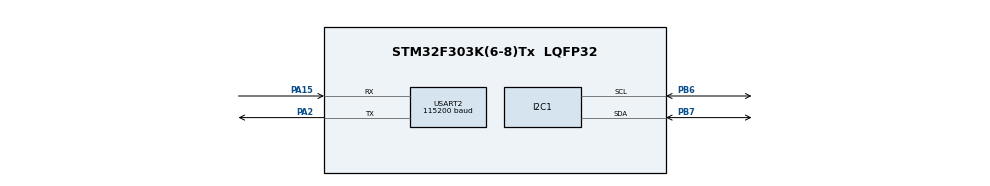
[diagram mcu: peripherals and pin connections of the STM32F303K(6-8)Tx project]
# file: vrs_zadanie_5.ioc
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I2C1.Timing=0x00201D2B
Mcu.Family=STM32F3
Mcu.Name=STM32F303K(6-8)Tx
Mcu.Package=LQFP32
NVIC.I2C1_EV_IRQn=true\:0\:0\:false\:false\:true\:true\:true\:true
NVIC.PriorityGroup=NVIC_PRIORITYGROUP_4
PA13.Mode=Serial_Wire
PA13.Signal=SYS_JTMS-SWDIO
PA14.Mode=Serial_Wire
PA14.Signal=SYS_JTCK-SWCLK
PA15.Mode=Asynchronous
PA15.Signal=USART2_RX
PA2.Mode=Asynchronous
PA2.Signal=USART2_TX
PB6.Mode=I2C
PB6.Signal=I2C1_SCL
PB7.Mode=I2C
PB7.Signal=I2C1_SDA
ProjectManager.HeapSize=0x200
ProjectManager.StackSize=0x400
ProjectManager.TargetToolchain=STM32CubeIDE
RCC.AHBFreq_Value=8000000
RCC.APB1Freq_Value=8000000
RCC.APB2Freq_Value=8000000
RCC.CortexFreq_Value=8000000
RCC.HSE_VALUE=8000000
RCC.HSI_VALUE=8000000
RCC.SYSCLKFreq_VALUE=8000000
USART2.BaudRate=115200
USART2.VirtualMode-Asynchronous=VM_ASYNC
board=custom

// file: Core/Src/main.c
/* USER CODE BEGIN Header */
/**
  ******************************************************************************
  * @file           : main.c
  * @brief          : Main program body
  ******************************************************************************
  * @attention
  *
  * Copyright (c) 2026 STMicroelectronics.
  * All rights reserved.
  *
  * This software is licensed under terms that can be found in the LICENSE file
  * in the root directory of this software component.
  * If no LICENSE file comes with this software, it is provided AS-IS.
  *
  ******************************************************************************
  */
/* USER CODE END Header */
#include "main.h"
#include "i2c.h"
#include "usart.h"
#include "gpio.h"

/* USER CODE BEGIN Includes */
#include "hts221.h"
#include "lps25hb.h"
#include "bmp180.h"
#include "aht10.h"
#include <stdio.h>
/* USER CODE END Includes */

/* USER CODE BEGIN PD */
/*
 * Used sensors:
 * SENSORS_IKS01A1      - X-NUCLEO-IKS01A1 board: HTS221 (temperature, humidity) + LPS25HB (pressure)
 * SENSORS_BMP180_AHT10 - modules BMP180 (pressure) + AHT10 (temperature, humidity)
 */
#define SENSORS_IKS01A1				1
#define SENSORS_BMP180_AHT10		2
#define SENSORS_USED				SENSORS_BMP180_AHT10

#define MEASUREMENT_PERIOD_MS		100U	//CSV data period (+ time of measurement)
#define AHT10_MEASURE_EVERY			10U		//AHT10 measured every 10th period (~1 s, limits self-heating)
#define REFERENCE_SAMPLES			20U		//number of pressure samples averaged for reference (ground) pressure
#define INIT_RETRY_PERIOD_MS		1000U
/* USER CODE END PD */

/* USER CODE BEGIN PV */
/* reference (ground) pressure for relative altitude [hPa] */
static float reference_pressure = 0.0f;
/* USER CODE END PV */

void SystemClock_Config(void);
/* USER CODE BEGIN PFP */
static void Sensors_Init(void);
static void I2C_Scan(void);
static uint8_t Read_Pressure(float *pressure);
static float Measure_ReferencePressure(void);
static void Delay_ms(uint32_t ms);
static void Format_Value(char *buffer, float value, uint8_t int_digits, uint8_t decimals);
/* USER CODE END PFP */

int main(void)
{

  /* MCU Configuration--------------------------------------------------------*/

  /* Reset of all peripherals, Initializes the Flash interface and the Systick. */
  LL_APB2_GRP1_EnableClock(LL_APB2_GRP1_PERIPH_SYSCFG);
  LL_APB1_GRP1_EnableClock(LL_APB1_GRP1_PERIPH_PWR);

  /* System interrupt init*/
  NVIC_SetPriorityGrouping(NVIC_PRIORITYGROUP_4);

  /* SysTick_IRQn interrupt configuration */
  NVIC_SetPriority(SysTick_IRQn, NVIC_EncodePriority(NVIC_GetPriorityGrouping(),15, 0));

  /* Configure the system clock */
  SystemClock_Config();

  /* Initialize all configured peripherals */
  MX_GPIO_Init();
  MX_I2C1_Init();
  MX_USART2_UART_Init();
  /* USER CODE BEGIN 2 */
  /* I2C functions are registered as callbacks - sensor drivers do not use i2c.c directly */
#if SENSORS_USED == SENSORS_IKS01A1
  HTS221_RegisterCallbacks(i2c_read, i2c_write);
  LPS25HB_RegisterCallbacks(i2c_read, i2c_write);
#else
  BMP180_RegisterCallbacks(i2c_read, i2c_write, Delay_ms);
  AHT10_RegisterCallbacks(i2c_write_raw, i2c_read_raw, Delay_ms);
#endif

  I2C_Scan();		//diagnostics - list of devices on I2C bus

  Sensors_Init();

  /* reference pressure = actual position is altitude 0 m */
  reference_pressure = Measure_ReferencePressure();

  float temperature = 0.0f, humidity = 0.0f, pressure = 0.0f, altitude = 0.0f;
  char temperature_str[12], humidity_str[12], pressure_str[12], altitude_str[12];
  char message[64];
#if SENSORS_USED == SENSORS_BMP180_AHT10
  uint8_t aht10_counter = 0;
#endif
  /* USER CODE END 2 */

  /* Infinite loop */
  while (1)
  {

    /* USER CODE BEGIN 3 */
	  /* read measured values (previous value is kept if reading fails) */
#if SENSORS_USED == SENSORS_IKS01A1
	  HTS221_ReadTemperature(&temperature);
	  HTS221_ReadHumidity(&humidity);
#else
	  if(aht10_counter == 0U)
	  {
		  AHT10_Measure();		//one measurement gives humidity and temperature
	  }
	  aht10_counter = (aht10_counter + 1U) % AHT10_MEASURE_EVERY;

	  AHT10_ReadTemperature(&temperature);
	  AHT10_ReadHumidity(&humidity);
#endif
	  Read_Pressure(&pressure);

	  /* post processing - relative altitude from pressure */
#if SENSORS_USED == SENSORS_IKS01A1
	  altitude = LPS25HB_CalculateRelativeAltitude(pressure, reference_pressure);
#else
	  altitude = BMP180_CalculateRelativeAltitude(pressure, reference_pressure);
#endif

	  /* CSV: temperature [degC] xx.x, humidity [%] xx, pressure [hPa] xxxx.xx, altitude [m] xx.xx */
	  Format_Value(temperature_str, temperature, 2, 1);
	  Format_Value(humidity_str, humidity, 2, 0);
	  Format_Value(pressure_str, pressure, 4, 2);
	  Format_Value(altitude_str, altitude, 2, 2);

	  sprintf(message, "%s,%s,%s,%s\r\n", temperature_str, humidity_str, pressure_str, altitude_str);
	  USART2_SendString(message);

	  LL_mDelay(MEASUREMENT_PERIOD_MS);
  }
  /* USER CODE END 3 */
}

void SystemClock_Config(void)
{
  LL_FLASH_SetLatency(LL_FLASH_LATENCY_0);
  while(LL_FLASH_GetLatency()!= LL_FLASH_LATENCY_0)
  {
  }
  LL_RCC_HSI_Enable();

   /* Wait till HSI is ready */
  while(LL_RCC_HSI_IsReady() != 1)
  {

  }
  LL_RCC_HSI_SetCalibTrimming(16);
  LL_RCC_SetAHBPrescaler(LL_RCC_SYSCLK_DIV_1);
  LL_RCC_SetAPB1Prescaler(LL_RCC_APB1_DIV_1);
  LL_RCC_SetAPB2Prescaler(LL_RCC_APB2_DIV_1);
  LL_RCC_SetSysClkSource(LL_RCC_SYS_CLKSOURCE_HSI);

   /* Wait till System clock is ready */
  while(LL_RCC_GetSysClkSource() != LL_RCC_SYS_CLKSOURCE_STATUS_HSI)
  {

  }
  LL_Init1msTick(8000000);
  LL_SetSystemCoreClock(8000000);
  LL_RCC_SetI2CClockSource(LL_RCC_I2C1_CLKSOURCE_HSI);
}

/* USER CODE BEGIN 4 */
/* Diagnostics - finds all devices answering on I2C bus and prints their 7-bit addresses */
static void I2C_Scan(void)
{
	char text[32];
	uint8_t dummy;
	uint8_t found = 0;

	LL_mDelay(50);		//sensors power on
	USART2_SendString("I2C scan:");
	for(uint8_t address = 0x08U; address < 0x78U; address++)
	{
		if(i2c_read_raw((uint8_t)(address << 1), &dummy, 1U) == I2C_OK)
		{
			sprintf(text, " 0x%02X", address);
			USART2_SendString(text);
			found++;
		}
	}
	USART2_SendString(found ? "\r\n" : " no device\r\n");
}
/* Delay function registered as callback for sensor drivers */
static void Delay_ms(uint32_t ms)
{
	LL_mDelay(ms);
}

/* Initialization of both sensors, repeated until successful (error is reported via USART) */
static void Sensors_Init(void)
{
	uint8_t humidity_ok = 0, pressure_ok = 0;

	while(!humidity_ok || !pressure_ok)
	{
#if SENSORS_USED == SENSORS_IKS01A1
		if(!humidity_ok)
		{
			humidity_ok = (HTS221_Init() == HTS221_OK);
			if(!humidity_ok) USART2_SendString("HTS221 init error\r\n");
		}
		if(!pressure_ok)
		{
			pressure_ok = (LPS25HB_Init() == LPS25HB_OK);
			if(!pressure_ok) USART2_SendString("LPS25HB init error\r\n");
		}
#else
		if(!humidity_ok)
		{
			humidity_ok = (AHT10_Init() == AHT10_OK);
			if(!humidity_ok)
			{
				char text[48];
				uint8_t status = 0xFF;
				uint8_t result = i2c_read_raw(AHT10_DEVICE_ADDRESS, &status, 1U);
				sprintf(text, "AHT10 init error (read %s, status 0x%02X)\r\n", result ? "NACK" : "OK", status);
				USART2_SendString(text);
			}
		}
		if(!pressure_ok)
		{
			pressure_ok = (BMP180_Init() == BMP180_OK);
			if(!pressure_ok) USART2_SendString("BMP180 init error\r\n");
		}
#endif
		if(!humidity_ok || !pressure_ok)
		{
			LL_mDelay(INIT_RETRY_PERIOD_MS);
		}
	}
	USART2_SendString("Sensors initialized\r\n");
}

/* Pressure from used pressure sensor [hPa] */
static uint8_t Read_Pressure(float *pressure)
{
#if SENSORS_USED == SENSORS_IKS01A1
	return LPS25HB_ReadPressure(pressure);
#else
	return BMP180_ReadPressure(pressure);
#endif
}

/* Average of several pressure samples - reference pressure for relative altitude */
static float Measure_ReferencePressure(void)
{
	float sum = 0.0f, p;
	uint8_t count = 0;

	LL_mDelay(200);		//first conversion after power on

	for(uint8_t i = 0; i < REFERENCE_SAMPLES; i++)
	{
		if(Read_Pressure(&p) == 0U)
		{
			sum += p;
			count++;
		}
		LL_mDelay(MEASUREMENT_PERIOD_MS);
	}
	return (count > 0U) ? (sum / count) : 0.0f;
}

/*
 * Converts float value to text with fixed number of digits (without printf float support),
 * e.g. int_digits = 2, decimals = 1: 5.27 -> "05.3", -1.234 -> "-01.2"
 */
static void Format_Value(char *buffer, float value, uint8_t int_digits, uint8_t decimals)
{
	uint32_t scale = 1;
	int32_t scaled;
	uint32_t abs_value;

	for(uint8_t i = 0; i < decimals; i++)
	{
		scale *= 10U;
	}

	/* rounding to required number of decimal places */
	scaled = (value >= 0.0f) ? (int32_t)(value * scale + 0.5f) : (int32_t)(value * scale - 0.5f);
	abs_value = (scaled < 0) ? (uint32_t)(-scaled) : (uint32_t)scaled;

	if(decimals > 0U)
	{
		sprintf(buffer, "%s%0*u.%0*u", (scaled < 0) ? "-" : "",
				int_digits, (unsigned int)(abs_value / scale),
				decimals, (unsigned int)(abs_value % scale));
	}
	else
	{
		sprintf(buffer, "%s%0*u", (scaled < 0) ? "-" : "", int_digits, (unsigned int)abs_value);
	}
}
/* USER CODE END 4 */

void Error_Handler(void)
{
  __disable_irq();
  while (1)
  {
  }
}
